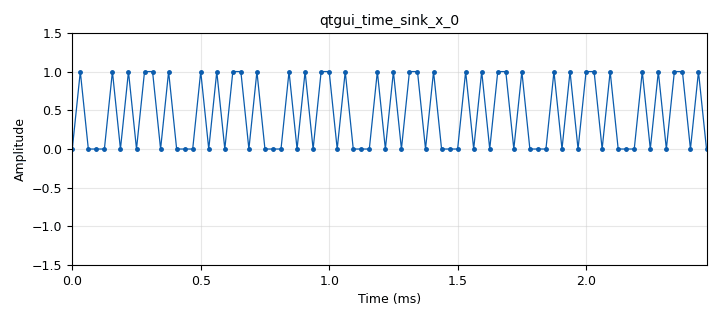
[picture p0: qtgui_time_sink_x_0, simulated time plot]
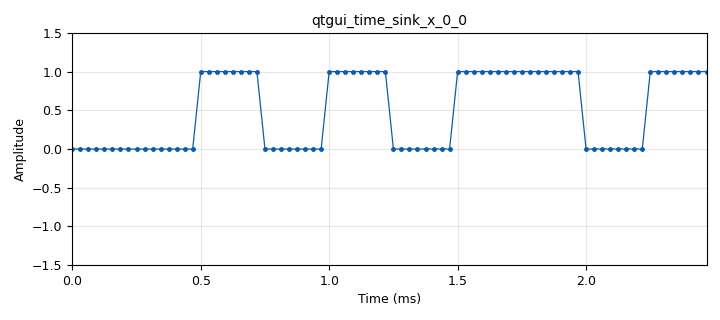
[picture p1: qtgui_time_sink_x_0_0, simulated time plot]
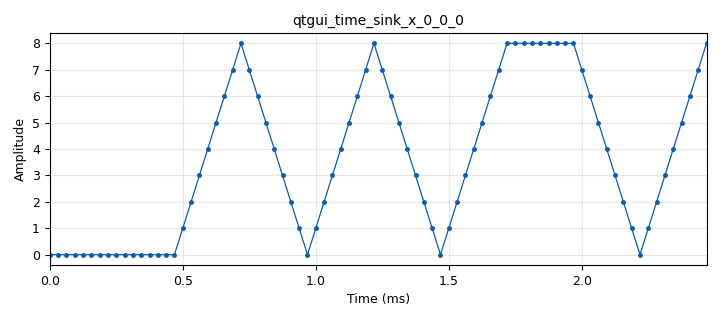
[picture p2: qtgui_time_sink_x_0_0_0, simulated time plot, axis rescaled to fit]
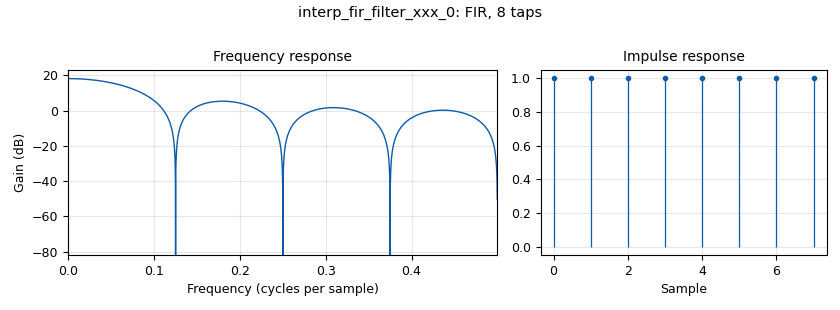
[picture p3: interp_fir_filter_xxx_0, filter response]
<?xml version='1.0' encoding='utf-8'?>
<?grc format='1' created='3.7.13'?>
<flow_graph>
<block>
<key>options</key>
<param><key>id</key><value>top_block</value></param>
<param><key>generate_options</key><value>qt_gui</value></param>
<param><key>realtime_scheduling</key><value>1</value></param>
</block>
<block>
<key>variable</key>
<param><key>id</key><value>Nh</value></param>
<param><key>value</key><value>len(h)</value></param>
</block>
<block>
<key>variable</key>
<param><key>id</key><value>h</value></param>
<param><key>value</key><value>(1,1,1,1,1,1,1,1)</value></param>
</block>
<block>
<key>variable</key>
<param><key>id</key><value>samp_rate</value></param>
<param><key>value</key><value>32000</value></param>
</block>
<block>
<key>variable</key>
<param><key>id</key><value>x</value></param>
<param><key>_enabled</key><value>0</value></param>
<param><key>value</key><value>(0,1,2,3,4,3,2,1)</value></param>
</block>
<block>
<key>variable</key>
<param><key>id</key><value>x</value></param>
<param><key>value</key><value>(1,0,1,0,1,1,0,1,0,0,0)</value></param>
</block>
<block>
<key>blocks_vector_source_x</key>
<param><key>id</key><value>blocks_vector_source_x_0</value></param>
<param><key>type</key><value>float</value></param>
<param><key>repeat</key><value>True</value></param>
<param><key>vector</key><value>x</value></param>
</block>
<block>
<key>interp_fir_filter_xxx</key>
<param><key>id</key><value>interp_fir_filter_xxx_0</value></param>
<param><key>interp</key><value>Nh</value></param>
<param><key>taps</key><value>h</value></param>
<param><key>type</key><value>fff</value></param>
</block>
<block>
<key>interp_fir_filter_xxx</key>
<param><key>id</key><value>interp_fir_filter_xxx_0_0</value></param>
<param><key>interp</key><value>1</value></param>
<param><key>taps</key><value>h</value></param>
<param><key>type</key><value>fff</value></param>
</block>
<block>
<key>qtgui_time_sink_x</key>
<param><key>id</key><value>qtgui_time_sink_x_0</value></param>
<param><key>gui_hint</key><value>1,0,1,1</value></param>
<param><key>color1</key><value>"blue"</value></param>
<param><key>label1</key><value></value></param>
<param><key>marker1</key><value>0</value></param>
<param><key>width1</key><value>3</value></param>
<param><key>size</key><value>Nh*10</value></param>
<param><key>srate</key><value>samp_rate</value></param>
<param><key>type</key><value>float</value></param>
<param><key>ymax</key><value>1.5</value></param>
<param><key>ymin</key><value>-1.5</value></param>
</block>
<block>
<key>qtgui_time_sink_x</key>
<param><key>id</key><value>qtgui_time_sink_x_0_0</value></param>
<param><key>gui_hint</key><value>2,0,1,1</value></param>
<param><key>color1</key><value>"blue"</value></param>
<param><key>label1</key><value></value></param>
<param><key>marker1</key><value>0</value></param>
<param><key>width1</key><value>3</value></param>
<param><key>size</key><value>Nh*10</value></param>
<param><key>srate</key><value>samp_rate</value></param>
<param><key>type</key><value>float</value></param>
<param><key>ymax</key><value>1.5</value></param>
<param><key>ymin</key><value>-1.5</value></param>
</block>
<block>
<key>qtgui_time_sink_x</key>
<param><key>id</key><value>qtgui_time_sink_x_0_0_0</value></param>
<param><key>gui_hint</key><value>3,0,1,1</value></param>
<param><key>color1</key><value>"blue"</value></param>
<param><key>label1</key><value></value></param>
<param><key>marker1</key><value>0</value></param>
<param><key>width1</key><value>3</value></param>
<param><key>size</key><value>Nh*10</value></param>
<param><key>srate</key><value>samp_rate</value></param>
<param><key>type</key><value>float</value></param>
<param><key>ymax</key><value>1.5</value></param>
<param><key>ymin</key><value>-1.5</value></param>
</block>
<block>
<key>virtual_sink</key>
<param><key>id</key><value>virtual_sink_0</value></param>
<param><key>stream_id</key><value>P2</value></param>
</block>
<block>
<key>virtual_sink</key>
<param><key>id</key><value>virtual_sink_0_0</value></param>
<param><key>stream_id</key><value>P1</value></param>
</block>
<block>
<key>virtual_sink</key>
<param><key>id</key><value>virtual_sink_0_1</value></param>
<param><key>stream_id</key><value>P3</value></param>
</block>
<block>
<key>virtual_source</key>
<param><key>id</key><value>virtual_source_0</value></param>
<param><key>stream_id</key><value>P1</value></param>
</block>
<block>
<key>virtual_source</key>
<param><key>id</key><value>virtual_source_0_0</value></param>
<param><key>stream_id</key><value>P2</value></param>
</block>
<block>
<key>virtual_source</key>
<param><key>id</key><value>virtual_source_0_0_0</value></param>
<param><key>stream_id</key><value>P3</value></param>
</block>
<connection><source_block_id>blocks_vector_source_x_0</source_block_id><sink_block_id>interp_fir_filter_xxx_0</sink_block_id><source_key>0</source_key><sink_key>0</sink_key></connection>
<connection><source_block_id>blocks_vector_source_x_0</source_block_id><sink_block_id>virtual_sink_0_0</sink_block_id><source_key>0</source_key><sink_key>0</sink_key></connection>
<connection><source_block_id>interp_fir_filter_xxx_0</source_block_id><sink_block_id>interp_fir_filter_xxx_0_0</sink_block_id><source_key>0</source_key><sink_key>0</sink_key></connection>
<connection><source_block_id>interp_fir_filter_xxx_0</source_block_id><sink_block_id>virtual_sink_0</sink_block_id><source_key>0</source_key><sink_key>0</sink_key></connection>
<connection><source_block_id>interp_fir_filter_xxx_0_0</source_block_id><sink_block_id>virtual_sink_0_1</sink_block_id><source_key>0</source_key><sink_key>0</sink_key></connection>
<connection><source_block_id>virtual_source_0</source_block_id><sink_block_id>qtgui_time_sink_x_0</sink_block_id><source_key>0</source_key><sink_key>0</sink_key></connection>
<connection><source_block_id>virtual_source_0_0</source_block_id><sink_block_id>qtgui_time_sink_x_0_0</sink_block_id><source_key>0</source_key><sink_key>0</sink_key></connection>
<connection><source_block_id>virtual_source_0_0_0</source_block_id><sink_block_id>qtgui_time_sink_x_0_0_0</sink_block_id><source_key>0</source_key><sink_key>0</sink_key></connection>
</flow_graph>
